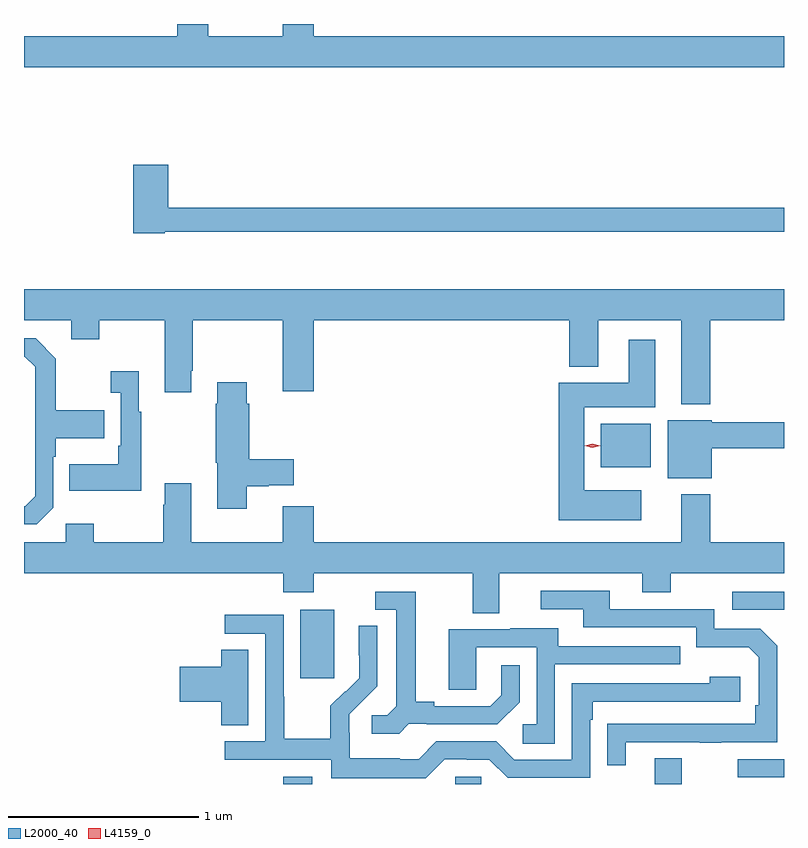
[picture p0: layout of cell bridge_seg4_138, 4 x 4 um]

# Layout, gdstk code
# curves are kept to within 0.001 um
import gdstk
lib = gdstk.Library(unit=1e-6, precision=1e-09)
def R(c, l, rs):  # rectangles x0, y0, x1, y1
    for r in rs: c.add(gdstk.rectangle(r[:2], r[2:], *l))
def P(c, l, *ps):  # polygons
    for p in ps: c.add(gdstk.Polygon(p, *l))
L2000_40 = (2000, 40)
L4159_0 = (4159, 0)

bridge_seg4_138 = lib.new_cell('bridge_seg4_138')
R(bridge_seg4_138, L2000_40, [(272.903,767.74,273.055,767.779), (273.807,767.74,273.945,767.778), (274.859,767.74,274.999,767.875), (275.295,767.775,275.538,767.871), (272.993,768.297,273.172,768.658), (275.265,768.657,275.538,768.753), (274.574,769.406,274.837,769.636)])
P(bridge_seg4_138, L2000_40, [(275.538,771.676),(273.064,771.676),(273.064,771.74),(272.9,771.74),(272.9,771.676),(272.509,771.676),(272.509,771.74),(272.345,771.74),(272.345,771.676),(271.538,771.676),(271.538,771.512),(275.538,771.512)],
  [(272.28,770.646),(275.538,770.646),(275.538,770.774),(272.297,770.774),(272.297,770.998),(272.114,770.998),(272.114,770.638),(272.28,770.638)],
  [(275.15,770.18),(275.538,770.18),(275.538,770.344),(271.538,770.344),(271.538,770.18),(271.787,770.18),(271.787,770.081),(271.935,770.081),(271.935,770.18),(272.279,770.18),(272.279,769.803),(272.419,769.803),(272.419,769.915),(272.427,769.915),(272.427,770.18),(272.9,770.18),(272.9,769.806),(273.064,769.806),(273.064,770.18),(274.409,770.18),(274.409,769.937),(274.561,769.937),(274.561,770.18),(274.997,770.18),(274.997,769.739),(275.15,769.739)],
  [(271.692,769.194),(271.692,769.463),(271.705,769.463),(271.705,769.559),(271.961,769.559),(271.961,769.707),(271.705,769.707),(271.705,769.979),(271.599,770.085),(271.538,770.085),(271.538,769.989),(271.542,769.989),(271.596,769.935),(271.596,769.254),(271.545,769.203),(271.538,769.203),(271.538,769.107),(271.605,769.107)],
  [(274.786,769.285),(274.486,769.285),(274.486,769.724),(274.861,769.724),(274.861,770.077),(274.721,770.077),(274.721,769.852),(274.352,769.852),(274.352,769.127),(274.786,769.127)],
  [(272.155,769.699),(272.143,769.699),(272.143,769.912),(271.995,769.912),(271.995,769.799),(272.046,769.799),(272.046,769.519),(272.034,769.519),(272.034,769.423),(271.777,769.423),(271.777,769.283),(272.155,769.283)],
  [(272.71,769.306),(272.826,769.306),(272.826,769.313),(272.959,769.313),(272.959,769.448),(272.723,769.448),(272.723,769.742),(272.71,769.742),(272.71,769.855),(272.555,769.855),(272.555,769.742),(272.548,769.742),(272.548,769.431),(272.555,769.431),(272.555,769.188),(272.71,769.188)],
  [(275.158,769.507),(275.538,769.507),(275.538,769.643),(275.158,769.643),(275.158,769.654),(274.925,769.654),(274.925,769.349),(275.158,769.349)],
  [(274.039,768.848),(274.793,768.848),(274.793,768.749),(274.941,768.749),(274.941,768.848),(275.538,768.848),(275.538,769.012),(275.15,769.012),(275.15,769.264),(274.997,769.264),(274.997,769.012),(273.064,769.012),(273.064,769.201),(272.9,769.201),(272.9,769.012),(272.419,769.012),(272.419,769.324),(272.279,769.324),(272.279,769.211),(272.272,769.211),(272.272,769.012),(271.905,769.012),(271.905,769.111),(271.758,769.111),(271.758,769.012),(271.538,769.012),(271.538,768.848),(272.903,768.848),(272.903,768.749),(273.063,768.749),(273.063,768.848),(273.899,768.848),(273.899,768.64),(274.039,768.64)],
  [(274.705,767.961),(275.095,767.961),(275.095,767.956),(275.207,767.956),(275.207,767.961),(275.502,767.961),(275.502,768.468),(275.412,768.558),(275.172,768.558),(275.172,768.66),(274.621,768.66),(274.621,768.756),(274.257,768.756),(274.257,768.66),(274.481,768.66),(274.481,768.564),(275.076,768.564),(275.076,768.461),(275.353,768.461),(275.406,768.408),(275.406,768.154),(275.386,768.154),(275.386,768.057),(274.609,768.056),(274.609,767.838),(274.705,767.838)],
  [(273.564,768.057),(273.658,768.057),(273.658,768.054),(274.03,768.054),(274.146,768.17),(274.146,768.364),(274.049,768.364),(274.049,768.207),(273.992,768.15),(273.697,768.15),(273.697,768.173),(273.601,768.173),(273.601,768.753),(273.387,768.753),(273.387,768.657),(273.497,768.657),(273.497,768.149),(273.45,768.102),(273.369,768.102),(273.369,768.005),(273.512,768.005)],
  [(273.753,767.871),(273.869,767.871),(273.869,767.868),(273.987,767.868),(274.083,767.772),(274.518,767.772),(274.518,768.077),(274.531,768.077),(274.531,768.174),(275.308,768.174),(275.308,768.304),(275.147,768.304),(275.147,768.27),(274.422,768.27),(274.422,767.868),(274.119,767.868),(274.023,767.964),(273.708,767.964),(273.615,767.871),(273.515,767.871),(273.515,767.875),(273.252,767.875),(273.252,768.009),(273.25,768.009),(273.25,768.106),(273.396,768.254),(273.396,768.572),(273.3,768.572),(273.3,768.418),(273.302,768.418),(273.302,768.296),(273.231,768.225),(273.228,768.228),(273.151,768.151),(273.151,767.977),(272.907,767.977),(272.907,768.2),(272.904,768.2),(272.904,768.63),(272.595,768.63),(272.595,768.531),(272.808,768.531),(272.808,767.964),(272.595,767.964),(272.595,767.868),(273.156,767.868),(273.156,767.771),(273.653,767.771)],
  [(274.332,768.369),(274.991,768.369),(274.991,768.465),(274.351,768.465),(274.351,768.559),(274.097,768.559),(274.097,768.555),(273.773,768.555),(273.773,768.235),(273.918,768.235),(273.918,768.459),(274.236,768.459),(274.236,768.054),(274.164,768.054),(274.164,767.953),(274.332,767.953)],
  [(272.719,768.446),(272.576,768.446),(272.576,768.356),(272.358,768.356),(272.358,768.173),(272.576,768.173),(272.576,768.049),(272.719,768.049)])
P(bridge_seg4_138, L4159_0, [(274.53,769.511),(274.489,769.521),(274.489,769.521),(274.489,769.521),(274.53,769.531),(274.57,769.521),(274.57,769.521),(274.57,769.521)])

lib.write_gds('bridge_seg4_138.gds')
